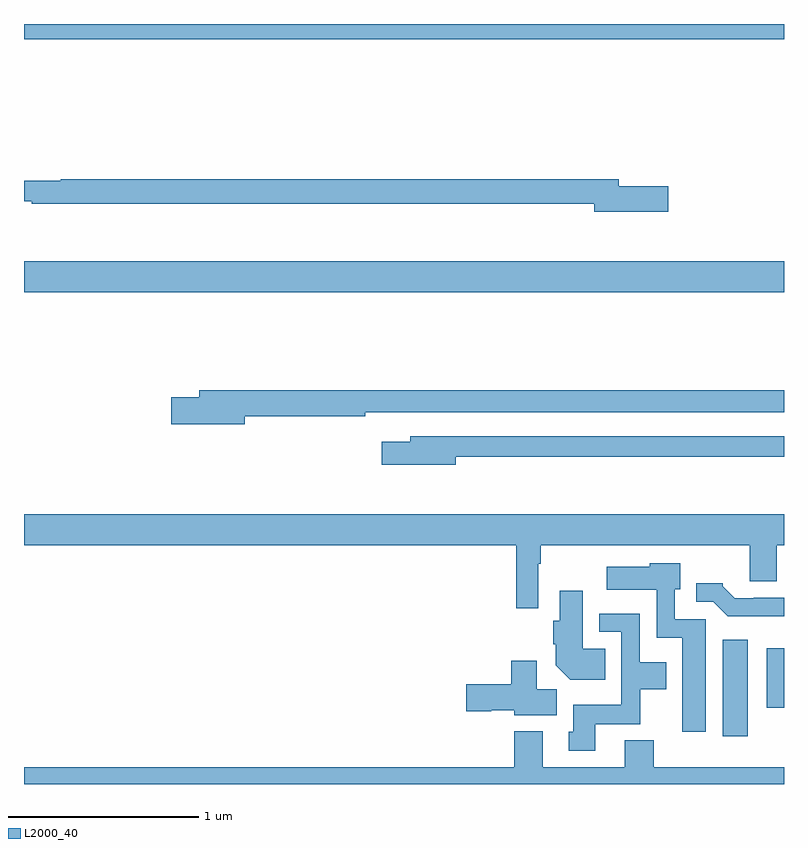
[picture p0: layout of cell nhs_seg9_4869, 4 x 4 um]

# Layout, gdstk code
import gdstk
lib = gdstk.Library(unit=1e-6, precision=1e-09)
def R(c, l, rs):  # rectangles x0, y0, x1, y1
    for r in rs: c.add(gdstk.rectangle(r[:2], r[2:], *l))
def P(c, l, *ps):  # polygons
    for p in ps: c.add(gdstk.Polygon(p, *l))
L2000_40 = (2000, 40)

nhs_seg9_4869 = lib.new_cell('nhs_seg9_4869')
R(nhs_seg9_4869, L2000_40, [(396.677,1192.752,396.808,1193.26), (396.908,1192.901,397,1193.215), (393,1195.088,397,1195.252), (393,1196.42,397,1196.5)])
P(nhs_seg9_4869, L2000_40, [(396.391,1195.646),(396.13,1195.646),(396.13,1195.682),(393.194,1195.682),(393.194,1195.675),(393,1195.675),(393,1195.566),(393.04,1195.566),(393.04,1195.554),(396.002,1195.554),(396.002,1195.511),(396.391,1195.511)],
  [(394.162,1194.436),(394.796,1194.436),(394.796,1194.456),(397,1194.456),(397,1194.572),(393.923,1194.572),(393.923,1194.536),(393.774,1194.536),(393.774,1194.394),(394.162,1194.394)],
  [(395.272,1194.222),(397,1194.222),(397,1194.33),(395.033,1194.33),(395.033,1194.301),(394.884,1194.301),(394.884,1194.179),(395.272,1194.179)],
  [(395.706,1193.66),(395.719,1193.66),(395.719,1193.756),(396.821,1193.756),(396.821,1193.566),(396.961,1193.566),(396.961,1193.756),(397,1193.756),(397,1193.92),(393,1193.92),(393,1193.756),(395.59,1193.756),(395.59,1193.424),(395.706,1193.424)],
  [(396.589,1193.367),(396.426,1193.367),(396.426,1193.526),(396.454,1193.526),(396.454,1193.662),(396.294,1193.662),(396.294,1193.644),(396.066,1193.644),(396.066,1193.522),(396.33,1193.522),(396.33,1193.27),(396.464,1193.27),(396.464,1192.776),(396.589,1192.776)],
  [(397,1193.481),(396.841,1193.481),(396.841,1193.478),(396.742,1193.478),(396.678,1193.542),(396.678,1193.557),(396.539,1193.557),(396.539,1193.46),(396.627,1193.46),(396.703,1193.384),(397,1193.384)],
  [(396.059,1193.212),(395.941,1193.212),(395.941,1193.518),(395.819,1193.518),(395.819,1193.358),(395.786,1193.358),(395.786,1193.236),(395.798,1193.236),(395.798,1193.126),(395.876,1193.048),(396.059,1193.048)],
  [(396.007,1192.814),(396.243,1192.814),(396.243,1193),(396.379,1193),(396.379,1193.14),(396.24,1193.14),(396.24,1193.397),(396.027,1193.397),(396.027,1193.301),(396.144,1193.301),(396.144,1192.918),(395.891,1192.918),(395.891,1192.776),(395.867,1192.776),(395.867,1192.674),(396.007,1192.674)],
  [(395.803,1193),(395.698,1193),(395.698,1193.149),(395.564,1193.149),(395.564,1193.024),(395.328,1193.024),(395.328,1192.882),(395.46,1192.882),(395.46,1192.889),(395.58,1192.889),(395.58,1192.862),(395.803,1192.862)],
  [(397,1192.588),(396.314,1192.588),(396.314,1192.729),(396.161,1192.729),(396.161,1192.588),(395.731,1192.588),(395.731,1192.777),(395.579,1192.777),(395.579,1192.588),(393,1192.588),(393,1192.5),(397,1192.5)])

lib.write_gds('nhs_seg9_4869.gds')
